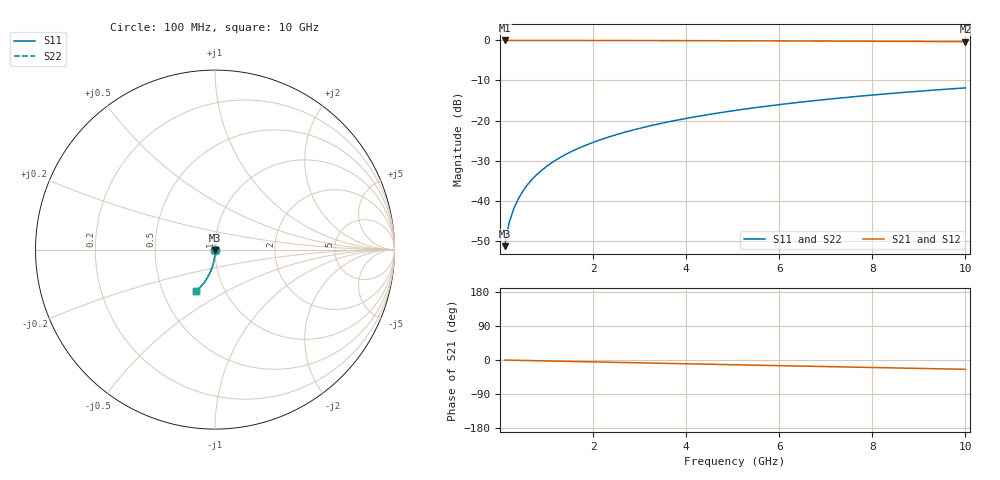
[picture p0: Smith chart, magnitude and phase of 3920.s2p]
# Hz S RI R 50.00
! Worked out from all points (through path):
!   100 points, 100 MHz to 10 GHz, reference 50 ohm
!   highest |S21| = 0.00 dB at 100 MHz (marker M1); lowest = -0.3 dB at 10 GHz (marker M2)
!   group delay of S21, straight-line fit = 6.84 ps
!   lowest |S11| = -51.4 dB at 100 MHz (marker M3), VSWR 1.01, Z = 50 - j0.267 ohm
!   |S11| at or under -10 dB: start of sweep to end of sweep
!   |S22| runs from -51.4 to -11.8 dB; largest |S21 - S12| = 0
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1e8  0.000392 -0.00267  0.9996 -0.00434  0.9996 -0.00434  0.000392 -0.00267
2e8  0.000357 -0.00534  0.9995 -0.00868  0.9995 -0.00868  0.000357 -0.00534
3e8  0.000297 -0.00801  0.9995 -0.013  0.9995 -0.013  0.000297 -0.00801
4e8  0.000214 -0.0107  0.9994 -0.0174  0.9994 -0.0174  0.000214 -0.0107
5e8  0.000108 -0.0134  0.9992 -0.0217  0.9992 -0.0217  0.000108 -0.0134
6e8  -2.17e-05 -0.016  0.9991 -0.026  0.9991 -0.026  -2.17e-05 -0.016
7e8  -0.000175 -0.0187  0.9989 -0.0304  0.9989 -0.0304  -0.000175 -0.0187
8e8  -0.000351 -0.0214  0.9987 -0.0347  0.9987 -0.0347  -0.000351 -0.0214
9e8  -0.00055 -0.024  0.9985 -0.0391  0.9985 -0.0391  -0.00055 -0.024
1.1e9  -0.00102 -0.0293  0.998 -0.0477  0.998 -0.0477  -0.00102 -0.0293
1.4e9  -0.00189 -0.0373  0.997 -0.0607  0.997 -0.0607  -0.00189 -0.0373
1.8e9  -0.00339 -0.0479  0.9953 -0.078  0.9953 -0.078  -0.00339 -0.0479
2.1e9  -0.00474 -0.0558  0.9938 -0.0909  0.9938 -0.0909  -0.00474 -0.0558
2.5e9  -0.00687 -0.0663  0.9914 -0.1081  0.9914 -0.1081  -0.00687 -0.0663
2.9e9  -0.00937 -0.0766  0.9886 -0.1252  0.9886 -0.1252  -0.00937 -0.0766
3.4e9  -0.013 -0.0895  0.9845 -0.1464  0.9845 -0.1464  -0.013 -0.0895
4.2e9  -0.0199 -0.1096  0.9767 -0.18  0.9767 -0.18  -0.0199 -0.1096
5.1e9  -0.0293 -0.1316  0.9661 -0.2172  0.9661 -0.2172  -0.0293 -0.1316
5.9e9  -0.039 -0.1504  0.9551 -0.2495  0.9551 -0.2495  -0.039 -0.1504
6.7e9  -0.05 -0.1684  0.9427 -0.281  0.9427 -0.281  -0.05 -0.1684
8.4e9  -0.0769 -0.2037  0.9121 -0.3453  0.9121 -0.3453  -0.0769 -0.2037
1e10  -0.1062 -0.2326  0.8784 -0.4016  0.8784 -0.4016  -0.1062 -0.2326
